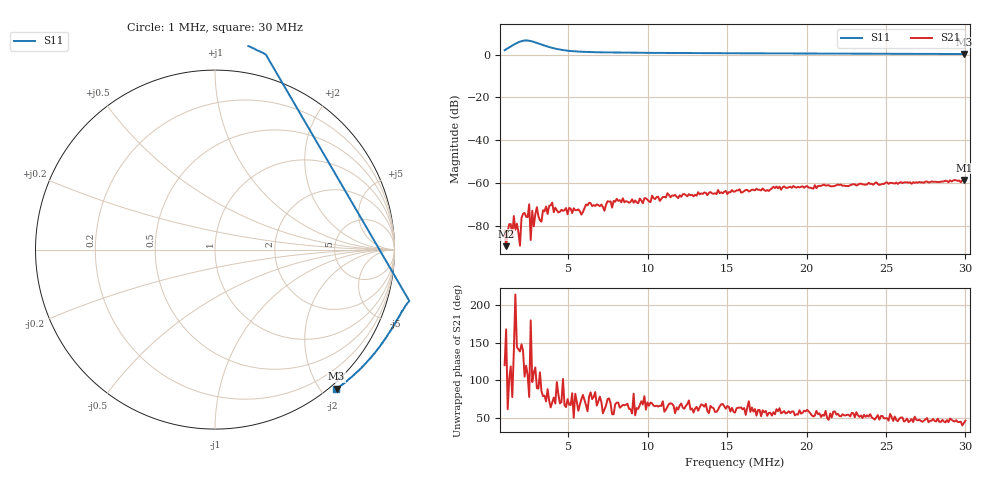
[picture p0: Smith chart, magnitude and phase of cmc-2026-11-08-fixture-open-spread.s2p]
!File created by NanoVNA-F V2
# Hz S RI R 50
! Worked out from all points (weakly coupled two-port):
!   301 points, 1 MHz to 30 MHz, reference 50 ohm
!   highest |S21| = -58.53 dB at 29.9 MHz (marker M1); lowest = -89.4 dB at 1.097 MHz (marker M2)
!   lowest |S11| = 0.2 dB at 29.9 MHz (marker M3)
!   |S11| at or under -10 dB: nowhere
!   S12 and S22 are empty: the file has one direction only
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1000000  -0.9545 0.8275  -3.9e-05 6.7e-05  0 0  0 0
1096666  -1.033 0.8324  -3.3e-05 7e-06  0 0  0 0
1579996  -1.388 0.9904  -0.000127 0.000114  0 0  0 0
1966660  -1.508 1.319  -2.6e-05 2.3e-05  0 0  0 0
2449990  -1.227 1.736  -4.7e-05 0.000153  0 0  0 0
2546656  -1.123 1.778  6.8e-05 0.000312  0 0  0 0
2643322  -1.023 1.799  -4.7e-05 0  0 0  0 0
2739988  -0.9215 1.805  -3e-05 0.000224  0 0  0 0
2836654  -0.8273 1.795  -3.4e-05 9.2e-05  0 0  0 0
3029986  -0.6585 1.75  2e-06 0.000274  0 0  0 0
3319984  -0.4659 1.645  1e-05 0.000126  0 0  0 0
3996646  -0.2088 1.415  0.000119 0.000331  0 0  0 0
4093312  -0.1829 1.39  4.7e-05 0.000203  0 0  0 0
5833300  0.1335 1.158  4.8e-05 0.000177  0 0  0 0
7476622  0.2834 1.086  9.9e-05 0.000364  0 0  0 0
7573288  1.083 -0.2859  9e-05 0.000358  0 0  0 0
1.06666e7  1.032 -0.3608  0.000204 0.000436  0 0  0 0
1.54999e7  0.959 -0.4802  0.000349 0.000532  0 0  0 0
2.03332e7  0.875 -0.594  0.000456 0.000611  0 0  0 0
2.51665e7  0.7797 -0.6933  0.000664 0.00069  0 0  0 0
2.990313e7  0.6769 -0.7742  0.000868 0.000805  0 0  0 0
2.99998e7  0.6753 -0.7771  0.000787 0.000819  0 0  0 0
